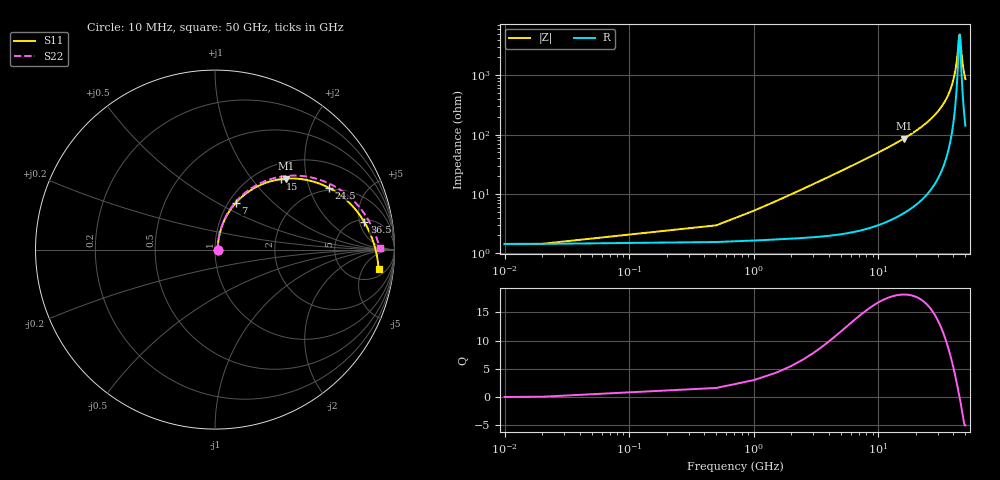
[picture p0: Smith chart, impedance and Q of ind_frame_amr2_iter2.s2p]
#  GHZ S DB R 50
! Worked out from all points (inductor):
!   102 points, 10 MHz to 50 GHz, reference 50 ohm
!   read as 1/Y11, port 2 shorted: L = 776 pH near 1 GHz
!   highest Q = 18.1 at 16 GHz (marker M1), where L = 852 pH
!   self-resonance near 44.5 GHz
!   S11 on the Smith chart (normalised r, x): 10 MHz: 1.03, +0.00; 7 GHz: 1.08, +0.62; 15 GHz: 1.28, +1.41; 24.5 GHz: 1.89, +2.72; 36.5 GHz: 5.56, +5.96; 50 GHz: 8, -11
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0.01  -36.99 2.0  -0.12 -0.0  -0.12 -0.0  -36.99 2.0
0.5  -31.41 54.3  -0.14 -1.6  -0.14 -1.6  -31.41 54.4
1  -26.69 67.2  -0.15 -3.1  -0.15 -3.1  -26.69 67.3
1.5  -23.52 71.6  -0.17 -4.5  -0.17 -4.5  -23.53 71.8
2  -21.18 73.4  -0.19 -6.0  -0.19 -6.0  -21.18 73.6
3  -17.80 73.7  -0.25 -8.9  -0.25 -8.9  -17.81 74.1
4  -15.40 72.4  -0.31 -11.7  -0.31 -11.7  -15.40 72.9
5.5  -12.77 69.4  -0.43 -15.9  -0.43 -15.9  -12.78 70.1
7  -10.84 65.9  -0.59 -20.0  -0.59 -20.0  -10.85 66.7
8.5  -9.34 62.2  -0.77 -23.9  -0.77 -23.9  -9.35 63.3
11.5  -7.15 55.0  -1.21 -31.4  -1.21 -31.4  -7.16 56.4
15  -5.41 47.0  -1.80 -39.4  -1.80 -39.4  -5.42 48.9
16  -5.03 44.9  -1.98 -41.5  -1.98 -41.5  -5.04 46.9
17  -4.68 42.8  -2.16 -43.6  -2.16 -43.6  -4.69 44.9
20.5  -3.68 35.8  -2.84 -50.5  -2.84 -50.5  -3.69 38.4
24.5  -2.85 28.6  -3.65 -57.6  -3.65 -57.6  -2.86 31.7
25.5  -2.68 26.9  -3.85 -59.2  -3.85 -59.2  -2.69 30.2
29.5  -2.12 20.5  -4.68 -65.5  -4.68 -65.5  -2.13 24.3
33.5  -1.70 14.5  -5.52 -71.2  -5.52 -71.2  -1.71 19.0
36.5  -1.45 10.3  -6.16 -75.3  -6.16 -75.3  -1.46 15.2
42  -1.09 3.1  -7.36 -82.2  -7.36 -82.2  -1.10 8.9
50  -0.74 -6.8  -9.17 -91.4  -9.17 -91.4  -0.75 0.4
